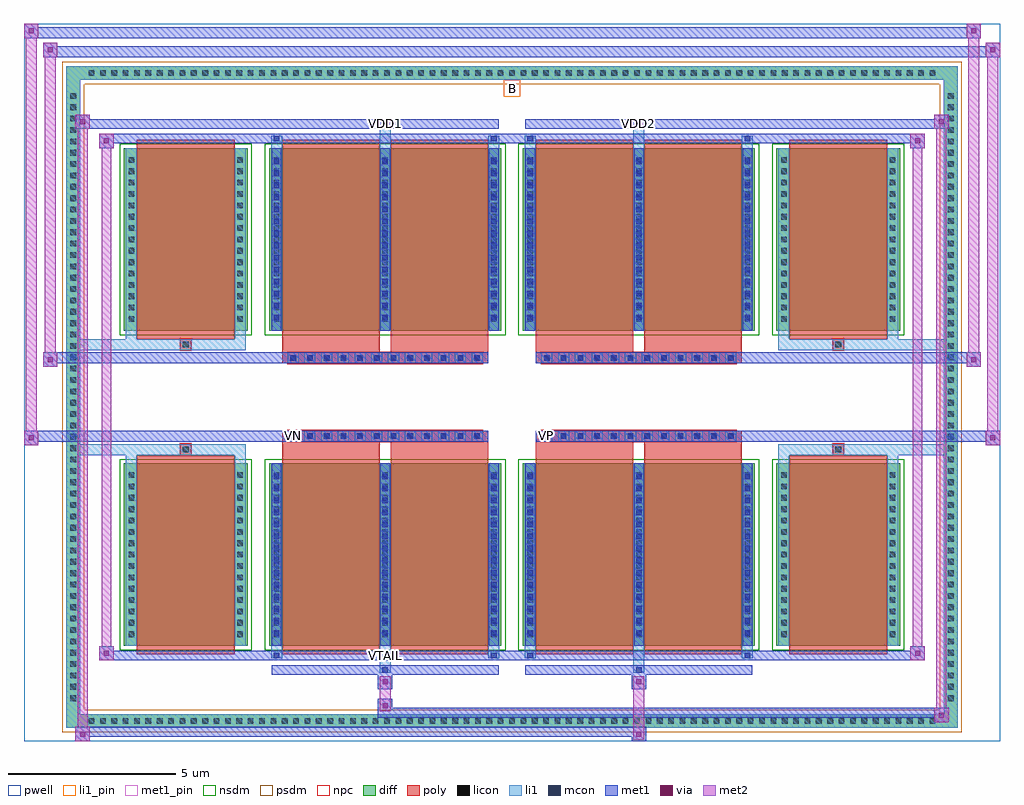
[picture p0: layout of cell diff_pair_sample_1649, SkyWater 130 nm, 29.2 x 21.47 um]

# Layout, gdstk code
import gdstk
lib = gdstk.Library(unit=1e-6, precision=5e-09)
def R(c, l, rs):  # rectangles x0, y0, x1, y1
    for r in rs: c.add(gdstk.rectangle(r[:2], r[2:], *l))
def A(c, l, x, y, w, h, nx, ny, dx, dy):  # array of equal rectangles
    R(c, l, [(x+i*dx, y+j*dy, x+i*dx+w, y+j*dy+h) for i in range(nx) for j in range(ny)])
def P(c, l, *ps):  # polygons
    for p in ps: c.add(gdstk.Polygon(p, *l))
pwell = (64, 44)
diff = (65, 20)
poly = (66, 20)
licon = (66, 44)
li1_pin = (67, 16)
li1 = (67, 20)
mcon = (67, 44)
met1_pin = (68, 16)
met1 = (68, 20)
via = (68, 44)
met2 = (69, 20)
nsdm = (93, 44)
psdm = (94, 20)
npc = (95, 20)

diff_pair_sample_1649 = lib.new_cell('diff_pair_sample_1649')
R(diff_pair_sample_1649, pwell, [(-14.6,-10.3,14.6,11.17), (-11.92,-8.49,-0.01,-0.805), (0.01,-8.49,11.92,-0.805), (-11.92,0.805,-0.01,8.49), (0.01,0.805,11.92,8.49)])
A(diff_pair_sample_1649, diff, -12.785, -9.9, 0.41, 0.41, 75, 2, 0.34, 19.39)
A(diff_pair_sample_1649, diff, -13.33, -9.215, 0.41, 0.41, 1, 54, 0, 0.34)
A(diff_pair_sample_1649, diff, 12.92, -9.215, 0.41, 0.41, 1, 54, 0, 0.34)
R(diff_pair_sample_1649, diff, [(-12.785,-9.9,12.785,-9.49), (-13.33,-9.215,-12.92,9.215), (12.92,-9.215,13.33,9.215), (-11.61,-7.445,-7.91,-1.985), (-7.27,-7.445,-0.32,-1.985), (0.32,-7.445,7.27,-1.985), (7.91,-7.445,11.61,-1.985), (-11.61,1.985,-7.91,7.445), (-7.27,1.985,-0.32,7.445), (0.32,1.985,7.27,7.445), (7.91,1.985,11.61,7.445), (-12.785,9.49,12.785,9.9)])
P(diff_pair_sample_1649, diff, [(13.33,9.9),(-13.33,9.9),(-13.33,-9.49),(-12.92,-9.49),(-12.92,9.49),(12.92,9.49),(12.92,-9.49),(-12.92,-9.49),(-13.33,-9.49),(-13.33,-9.9),(13.33,-9.9)])
A(diff_pair_sample_1649, poly, -6.71, -1.335, 0.33, 0.33, 12, 2, 0.5, 2.34)
A(diff_pair_sample_1649, poly, 0.88, -1.335, 0.33, 0.33, 12, 2, 0.5, 2.34)
R(diff_pair_sample_1649, poly, [(-11.22,-7.695,-8.3,-1.735), (-6.88,-7.695,-3.96,-1.735), (-3.63,-7.695,-0.71,-1.735), (0.71,-7.695,3.63,-1.735), (3.96,-7.695,6.88,-1.735), (8.3,-7.695,11.22,-1.735), (-9.925,-1.735,-9.595,-1.405), (-9.925,-1.735,-9.595,-1.405), (-6.88,-1.735,-3.96,-1.335), (-3.63,-1.735,-0.71,-1.335), (0.71,-1.735,3.63,-1.335), (3.96,-1.735,6.88,-1.335), (9.595,-1.735,9.925,-1.405), (9.595,-1.735,9.925,-1.405), (-6.88,-1.335,-0.71,-1.005), (0.71,-1.335,6.88,-1.005), (-6.88,1.005,-0.71,1.335), (0.71,1.005,6.88,1.335), (-6.88,1.335,-3.96,1.735), (-3.63,1.335,-0.71,1.735), (0.71,1.335,3.63,1.735), (3.96,1.335,6.88,1.735), (-9.925,1.405,-9.595,1.735), (-9.925,1.405,-9.595,1.735), (9.595,1.405,9.925,1.735), (9.595,1.405,9.925,1.735), (-11.22,1.735,-8.3,7.695), (-6.88,1.735,-3.96,7.695), (-3.63,1.735,-0.71,7.695), (0.71,1.735,3.63,7.695), (3.96,1.735,6.88,7.695), (8.3,1.735,11.22,7.695)])
A(diff_pair_sample_1649, licon, -12.665, -9.78, 0.17, 0.17, 75, 2, 0.34, 19.39)
A(diff_pair_sample_1649, licon, -13.21, -9.095, 0.17, 0.17, 1, 54, 0, 0.34)
A(diff_pair_sample_1649, licon, 13.04, -9.095, 0.17, 0.17, 1, 54, 0, 0.34)
A(diff_pair_sample_1649, licon, -11.47, -7.18, 0.17, 0.17, 1, 15, 0, 0.34)
A(diff_pair_sample_1649, licon, -8.22, -7.18, 0.17, 0.17, 1, 15, 0, 0.34)
A(diff_pair_sample_1649, licon, -7.13, -7.18, 0.17, 0.17, 3, 15, 3.25, 0.34)
A(diff_pair_sample_1649, licon, 0.46, -7.18, 0.17, 0.17, 3, 15, 3.25, 0.34)
A(diff_pair_sample_1649, licon, 8.05, -7.18, 0.17, 0.17, 1, 15, 0, 0.34)
A(diff_pair_sample_1649, licon, 11.3, -7.18, 0.17, 0.17, 1, 15, 0, 0.34)
A(diff_pair_sample_1649, licon, -6.63, -1.255, 0.17, 0.17, 12, 2, 0.5, 2.34)
A(diff_pair_sample_1649, licon, 0.96, -1.255, 0.17, 0.17, 12, 2, 0.5, 2.34)
A(diff_pair_sample_1649, licon, -11.47, 2.25, 0.17, 0.17, 1, 15, 0, 0.34)
A(diff_pair_sample_1649, licon, -8.22, 2.25, 0.17, 0.17, 1, 15, 0, 0.34)
A(diff_pair_sample_1649, licon, -7.13, 2.25, 0.17, 0.17, 3, 15, 3.25, 0.34)
A(diff_pair_sample_1649, licon, 0.46, 2.25, 0.17, 0.17, 3, 15, 3.25, 0.34)
A(diff_pair_sample_1649, licon, 8.05, 2.25, 0.17, 0.17, 1, 15, 0, 0.34)
A(diff_pair_sample_1649, licon, 11.3, 2.25, 0.17, 0.17, 1, 15, 0, 0.34)
R(diff_pair_sample_1649, licon, [(-9.845,-1.655,-9.675,-1.485), (9.675,-1.655,9.845,-1.485), (-9.845,1.485,-9.675,1.655), (9.675,1.485,9.845,1.655)])
R(diff_pair_sample_1649, li1_pin, [(-0.25,8.99,0.25,9.49)])
A(diff_pair_sample_1649, li1, -12.745, -9.86, 0.33, 0.33, 75, 2, 0.34, 19.39)
A(diff_pair_sample_1649, li1, -13.29, -9.175, 0.33, 0.33, 1, 54, 0, 0.34)
A(diff_pair_sample_1649, li1, 12.96, -9.175, 0.33, 0.33, 1, 54, 0, 0.34)
A(diff_pair_sample_1649, li1, -7.21, -7.445, 0.33, 5.46, 3, 2, 3.25, 9.43)
A(diff_pair_sample_1649, li1, 0.38, -7.445, 0.33, 5.46, 3, 2, 3.25, 9.43)
A(diff_pair_sample_1649, li1, -11.55, -7.26, 0.33, 0.33, 1, 15, 0, 0.34)
A(diff_pair_sample_1649, li1, -8.3, -7.26, 0.33, 0.33, 1, 15, 0, 0.34)
A(diff_pair_sample_1649, li1, -7.21, -7.26, 0.33, 0.33, 3, 15, 3.25, 0.34)
A(diff_pair_sample_1649, li1, 0.38, -7.26, 0.33, 0.33, 3, 15, 3.25, 0.34)
A(diff_pair_sample_1649, li1, 7.97, -7.26, 0.33, 0.33, 1, 15, 0, 0.34)
A(diff_pair_sample_1649, li1, 11.22, -7.26, 0.33, 0.33, 1, 15, 0, 0.34)
A(diff_pair_sample_1649, li1, -7.13, -7.14, 0.17, 0.17, 3, 14, 3.25, 0.36)
A(diff_pair_sample_1649, li1, -7.13, -7.14, 0.17, 4.85, 3, 2, 3.25, 9.43)
A(diff_pair_sample_1649, li1, 0.46, -7.14, 0.17, 0.17, 3, 14, 3.25, 0.36)
A(diff_pair_sample_1649, li1, 0.46, -7.14, 0.17, 4.85, 3, 2, 3.25, 9.43)
A(diff_pair_sample_1649, li1, -6.71, -1.335, 0.33, 0.33, 12, 2, 0.5, 2.34)
A(diff_pair_sample_1649, li1, 0.88, -1.335, 0.33, 0.33, 12, 2, 0.5, 2.34)
A(diff_pair_sample_1649, li1, -11.55, 2.17, 0.33, 0.33, 1, 15, 0, 0.34)
A(diff_pair_sample_1649, li1, -8.3, 2.17, 0.33, 0.33, 1, 15, 0, 0.34)
A(diff_pair_sample_1649, li1, -7.21, 2.17, 0.33, 0.33, 3, 15, 3.25, 0.34)
A(diff_pair_sample_1649, li1, 0.38, 2.17, 0.33, 0.33, 3, 15, 3.25, 0.34)
A(diff_pair_sample_1649, li1, 7.97, 2.17, 0.33, 0.33, 1, 15, 0, 0.34)
A(diff_pair_sample_1649, li1, 11.22, 2.17, 0.33, 0.33, 1, 15, 0, 0.34)
A(diff_pair_sample_1649, li1, -7.13, 2.29, 0.17, 0.17, 3, 14, 3.25, 0.36)
A(diff_pair_sample_1649, li1, 0.46, 2.29, 0.17, 0.17, 3, 14, 3.25, 0.36)
R(diff_pair_sample_1649, li1, [(-13.33,-9.9,-12.92,-9.49), (-13.33,-9.9,-12.92,-9.49), (-12.92,-9.9,12.92,-9.49), (12.92,-9.9,13.33,-9.49), (12.92,-9.9,13.33,-9.49), (-13.33,-9.49,-12.92,9.49), (12.92,-9.49,13.33,9.49), (-3.96,-8.25,-3.63,-7.445), (-3.88,-8.25,-3.71,-8.08), (3.63,-8.25,3.96,-7.445), (3.71,-8.25,3.88,-8.08), (-7.21,-7.82,-6.88,-7.445), (-7.13,-7.82,-6.96,-7.65), (-0.71,-7.82,-0.38,-7.445), (-0.63,-7.82,-0.46,-7.65), (0.38,-7.82,0.71,-7.445), (0.46,-7.82,0.63,-7.65), (6.88,-7.82,7.21,-7.445), (6.96,-7.82,7.13,-7.65), (-11.55,-7.445,-11.22,-1.985), (-8.3,-7.445,-7.97,-1.985), (7.97,-7.445,8.3,-1.985), (11.22,-7.445,11.55,-1.985), (-11.55,-1.985,-11.22,-1.405), (-8.3,-1.985,-7.97,-1.405), (7.97,-1.985,8.3,-1.405), (11.22,-1.985,11.55,-1.405), (-13.33,-1.735,-9.925,-1.405), (-11.55,-1.735,-9.925,-1.405), (-9.925,-1.735,-9.595,-1.405), (-9.595,-1.735,-7.97,-1.405), (7.97,-1.735,9.595,-1.405), (9.595,-1.735,9.925,-1.405), (9.595,-1.735,13.33,-1.405), (9.925,-1.735,11.55,-1.405), (-13.33,1.405,-9.925,1.735), (-11.55,1.405,-9.925,1.735), (-11.55,1.405,-11.22,1.985), (-9.925,1.405,-9.595,1.735), (-9.595,1.405,-7.97,1.735), (-8.3,1.405,-7.97,1.985), (7.97,1.405,9.595,1.735), (7.97,1.405,8.3,1.985), (9.595,1.405,9.925,1.735), (9.595,1.405,13.33,1.735), (9.925,1.405,11.55,1.735), (11.22,1.405,11.55,1.985), (-11.55,1.985,-11.22,7.445), (-8.3,1.985,-7.97,7.445), (7.97,1.985,8.3,7.445), (11.22,1.985,11.55,7.445), (-7.21,7.445,-6.88,7.82), (-3.96,7.445,-3.63,8.25), (-0.71,7.445,-0.38,7.82), (0.38,7.445,0.71,7.82), (3.63,7.445,3.96,8.25), (6.88,7.445,7.21,7.82), (-7.13,7.65,-6.96,7.82), (-0.63,7.65,-0.46,7.82), (0.46,7.65,0.63,7.82), (6.96,7.65,7.13,7.82), (-3.88,8.08,-3.71,8.25), (3.71,8.08,3.88,8.25), (-13.33,9.49,-12.92,9.9), (-13.33,9.49,-12.92,9.9), (-12.92,9.49,12.92,9.9), (12.92,9.49,13.33,9.9), (12.92,9.49,13.33,9.9)])
A(diff_pair_sample_1649, mcon, -7.13, -7.14, 0.17, 0.17, 3, 14, 3.25, 0.36)
A(diff_pair_sample_1649, mcon, 0.46, -7.14, 0.17, 0.17, 3, 14, 3.25, 0.36)
A(diff_pair_sample_1649, mcon, -6.63, -1.255, 0.17, 0.17, 12, 2, 0.5, 2.34)
A(diff_pair_sample_1649, mcon, 0.96, -1.255, 0.17, 0.17, 12, 2, 0.5, 2.34)
A(diff_pair_sample_1649, mcon, -7.13, 2.29, 0.17, 0.17, 3, 14, 3.25, 0.36)
A(diff_pair_sample_1649, mcon, 0.46, 2.29, 0.17, 0.17, 3, 14, 3.25, 0.36)
R(diff_pair_sample_1649, mcon, [(-3.88,-8.25,-3.71,-8.08), (3.71,-8.25,3.88,-8.08), (-7.13,-7.82,-6.96,-7.65), (-0.63,-7.82,-0.46,-7.65), (0.46,-7.82,0.63,-7.65), (6.96,-7.82,7.13,-7.65), (-7.13,7.65,-6.96,7.82), (-0.63,7.65,-0.46,7.82), (0.46,7.65,0.63,7.82), (6.96,7.65,7.13,7.82), (-3.88,8.08,-3.71,8.25), (3.71,8.08,3.88,8.25)])
R(diff_pair_sample_1649, met1_pin, [(-3.93,-7.86,-3.66,-7.59), (-6.68,-1.295,-6.41,-1.025), (0.91,-1.295,1.18,-1.025), (-3.93,8.04,-3.66,8.31), (3.66,8.04,3.93,8.31)])
A(diff_pair_sample_1649, met1, -7.19, -7.445, 0.29, 5.46, 3, 2, 3.25, 9.43)
A(diff_pair_sample_1649, met1, 0.4, -7.445, 0.29, 5.46, 3, 2, 3.25, 9.43)
A(diff_pair_sample_1649, met1, -7.19, -7.2, 0.29, 0.29, 3, 14, 3.25, 0.36)
A(diff_pair_sample_1649, met1, 0.4, -7.2, 0.29, 0.29, 3, 14, 3.25, 0.36)
A(diff_pair_sample_1649, met1, -6.69, -1.315, 0.29, 0.29, 12, 2, 0.5, 2.34)
A(diff_pair_sample_1649, met1, 0.9, -1.315, 0.29, 0.29, 12, 2, 0.5, 2.34)
A(diff_pair_sample_1649, met1, -7.19, 2.23, 0.29, 0.29, 3, 14, 3.25, 0.36)
A(diff_pair_sample_1649, met1, 0.4, 2.23, 0.29, 0.29, 3, 14, 3.25, 0.36)
R(diff_pair_sample_1649, met1, [(-13.06,-10.3,-12.63,-9.87), (3.58,-10.3,4.01,-9.87), (-13.06,-10.16,4.01,-9.87), (12.63,-9.73,13.06,-9.3), (-4.01,-9.59,13.06,-9.3), (-4.01,-9.45,-3.58,-9.02), (-4.01,-8.74,-3.58,-8.31), (3.58,-8.74,4.01,-8.31), (-7.19,-8.31,-0.4,-8.02), (-3.94,-8.31,-3.65,-8.02), (0.4,-8.31,7.19,-8.02), (3.65,-8.31,3.94,-8.02), (-12.35,-7.88,-11.92,-7.45), (-12.35,-7.88,-7.19,-7.59), (-7.19,-7.88,-6.9,-7.59), (-7.19,-7.88,-0.4,-7.59), (-0.69,-7.88,-0.4,-7.59), (-0.4,-7.88,0.4,-7.59), (0.4,-7.88,0.69,-7.59), (0.4,-7.88,7.19,-7.59), (6.9,-7.88,7.19,-7.59), (7.19,-7.88,12.35,-7.59), (11.92,-7.88,12.35,-7.45), (-14.6,-1.435,-14.17,-1.005), (14.17,-1.435,14.6,-1.005), (-14.6,-1.335,-0.71,-1.005), (-6.88,-1.335,-0.71,-1.005), (0.71,-1.335,6.88,-1.005), (0.71,-1.335,14.6,-1.005), (-14.03,0.905,-13.6,1.335), (13.6,0.905,14.03,1.335), (-14.03,1.005,-6.88,1.335), (-6.88,1.005,-0.71,1.335), (0.71,1.005,6.88,1.335), (6.88,1.005,14.03,1.335), (-12.35,7.45,-11.92,7.88), (11.92,7.45,12.35,7.88), (-12.35,7.59,-7.19,7.88), (-7.19,7.59,-6.9,7.88), (-7.19,7.59,-0.4,7.88), (-0.69,7.59,-0.4,7.88), (-0.4,7.59,0.4,7.88), (0.4,7.59,0.69,7.88), (0.4,7.59,7.19,7.88), (6.9,7.59,7.19,7.88), (7.19,7.59,12.35,7.88), (-13.06,8.02,-12.63,8.45), (-13.06,8.02,-7.19,8.31), (-7.19,8.02,-0.4,8.31), (-3.94,8.02,-3.65,8.31), (0.4,8.02,7.19,8.31), (3.65,8.02,3.94,8.31), (7.19,8.02,13.06,8.31), (12.63,8.02,13.06,8.45), (-14.03,10.17,-13.6,10.6), (-14.03,10.17,-11.92,10.5), (-11.92,10.17,11.92,10.5), (11.92,10.17,14.6,10.5), (14.17,10.17,14.6,10.6), (-14.6,10.74,-14.17,11.17), (-14.6,10.74,-11.92,11.07), (-11.92,10.74,11.92,11.07), (11.92,10.74,14.03,11.07), (13.6,10.74,14.03,11.17)])
R(diff_pair_sample_1649, via, [(-12.92,-10.16,-12.77,-10.01), (3.72,-10.16,3.87,-10.01), (12.77,-9.59,12.92,-9.44), (-3.87,-9.31,-3.72,-9.16), (-3.87,-8.6,-3.72,-8.45), (3.72,-8.6,3.87,-8.45), (-12.21,-7.74,-12.06,-7.59), (12.06,-7.74,12.21,-7.59), (-14.46,-1.295,-14.31,-1.145), (14.31,-1.295,14.46,-1.145), (-13.89,1.045,-13.74,1.195), (13.74,1.045,13.89,1.195), (-12.21,7.59,-12.06,7.74), (12.06,7.59,12.21,7.74), (-12.92,8.16,-12.77,8.31), (12.77,8.16,12.92,8.31), (-13.89,10.31,-13.74,10.46), (14.31,10.31,14.46,10.46), (-14.46,10.88,-14.31,11.03), (13.74,10.88,13.89,11.03)])
R(diff_pair_sample_1649, met2, [(-13.06,-10.3,-12.63,-9.87), (-12.99,-10.3,-12.7,8.45), (-12.7,-10.3,-12.63,-9.87), (-13.01,-10.25,-12.68,-9.92), (3.63,-10.25,3.96,-9.92), (3.63,-9.92,3.96,-8.69), (12.63,-9.73,13.06,-9.3), (12.7,-9.73,12.99,8.45), (12.99,-9.73,13.06,-9.3), (12.68,-9.68,13.01,-9.35), (-3.96,-9.4,-3.63,-9.07), (-3.96,-9.07,-3.63,-8.69), (-3.96,-8.69,-3.63,-8.36), (3.63,-8.69,3.96,-8.36), (-12.35,-7.88,-11.92,-7.45), (-12.28,-7.88,-11.99,7.88), (-11.99,-7.88,-11.92,-7.45), (11.92,-7.88,12.35,-7.45), (11.99,-7.88,12.28,7.88), (12.28,-7.88,12.35,-7.45), (-12.3,-7.83,-11.97,-7.5), (11.97,-7.83,12.3,-7.5), (-14.6,-1.435,-14.17,-1.005), (-14.55,-1.435,-14.22,11.17), (-14.22,-1.435,-14.17,-1.005), (14.17,-1.435,14.6,-1.005), (14.22,-1.435,14.55,10.6), (14.55,-1.435,14.6,-1.005), (-14.55,-1.385,-14.22,-1.055), (14.22,-1.385,14.55,-1.055), (-14.03,0.905,-13.6,1.335), (-13.98,0.905,-13.65,10.6), (-13.65,0.905,-13.6,1.335), (13.6,0.905,14.03,1.335), (13.65,0.905,13.98,11.17), (13.98,0.905,14.03,1.335), (-13.98,0.955,-13.65,1.285), (13.65,0.955,13.98,1.285), (-12.35,7.45,-11.92,7.88), (-11.99,7.45,-11.92,7.88), (11.92,7.45,12.35,7.88), (12.28,7.45,12.35,7.88), (-12.3,7.5,-11.97,7.83), (11.97,7.5,12.3,7.83), (-13.06,8.02,-12.63,8.45), (-12.7,8.02,-12.63,8.45), (12.63,8.02,13.06,8.45), (12.99,8.02,13.06,8.45), (-13.01,8.07,-12.68,8.4), (12.68,8.07,13.01,8.4), (-14.03,10.17,-13.6,10.6), (-13.65,10.17,-13.6,10.6), (14.17,10.17,14.6,10.6), (14.55,10.17,14.6,10.6), (-13.98,10.22,-13.65,10.55), (14.22,10.22,14.55,10.55), (-14.6,10.74,-14.17,11.17), (-14.22,10.74,-14.17,11.17), (13.6,10.74,14.03,11.17), (13.98,10.74,14.03,11.17), (-14.55,10.79,-14.22,11.12), (13.65,10.79,13.98,11.12)])
R(diff_pair_sample_1649, nsdm, [(-11.74,-7.575,-7.78,-1.855), (-7.4,-7.575,-0.19,-1.855), (0.19,-7.575,7.4,-1.855), (7.78,-7.575,11.74,-1.855), (-11.74,1.855,-7.78,7.575), (-7.4,1.855,-0.19,7.575), (0.19,1.855,7.4,7.575), (7.78,1.855,11.74,7.575)])
P(diff_pair_sample_1649, psdm, [(13.46,10.03),(-13.46,10.03),(-13.46,-9.36),(-12.79,-9.36),(-12.79,9.36),(12.79,9.36),(12.79,-9.36),(-12.79,-9.36),(-13.46,-9.36),(-13.46,-10.03),(13.46,-10.03)])
A(diff_pair_sample_1649, npc, -6.73, -1.355, 0.37, 0.37, 12, 2, 0.5, 2.34)
A(diff_pair_sample_1649, npc, 0.86, -1.355, 0.37, 0.37, 12, 2, 0.5, 2.34)
R(diff_pair_sample_1649, npc, [(-9.945,-1.755,-9.575,-1.385), (9.575,-1.755,9.945,-1.385), (-6.73,-1.355,-5.86,-0.985), (-6.73,-1.355,-5.86,-0.985), (-6.23,-1.355,-5.36,-0.985), (-6.23,-1.355,-5.36,-0.985), (-5.73,-1.355,-4.86,-0.985), (-5.73,-1.355,-4.86,-0.985), (-5.23,-1.355,-4.36,-0.985), (-5.23,-1.355,-4.36,-0.985), (-4.73,-1.355,-3.86,-0.985), (-4.73,-1.355,-3.86,-0.985), (-4.23,-1.355,-3.36,-0.985), (-4.23,-1.355,-3.36,-0.985), (-3.73,-1.355,-2.86,-0.985), (-3.73,-1.355,-2.86,-0.985), (-3.23,-1.355,-2.36,-0.985), (-3.23,-1.355,-2.36,-0.985), (-2.73,-1.355,-1.86,-0.985), (-2.73,-1.355,-1.86,-0.985), (-2.23,-1.355,-1.36,-0.985), (-2.23,-1.355,-1.36,-0.985), (-1.73,-1.355,-0.86,-0.985), (-1.73,-1.355,-0.86,-0.985), (0.86,-1.355,1.73,-0.985), (0.86,-1.355,1.73,-0.985), (1.36,-1.355,2.23,-0.985), (1.36,-1.355,2.23,-0.985), (1.86,-1.355,2.73,-0.985), (1.86,-1.355,2.73,-0.985), (2.36,-1.355,3.23,-0.985), (2.36,-1.355,3.23,-0.985), (2.86,-1.355,3.73,-0.985), (2.86,-1.355,3.73,-0.985), (3.36,-1.355,4.23,-0.985), (3.36,-1.355,4.23,-0.985), (3.86,-1.355,4.73,-0.985), (3.86,-1.355,4.73,-0.985), (4.36,-1.355,5.23,-0.985), (4.36,-1.355,5.23,-0.985), (4.86,-1.355,5.73,-0.985), (4.86,-1.355,5.73,-0.985), (5.36,-1.355,6.23,-0.985), (5.36,-1.355,6.23,-0.985), (5.86,-1.355,6.73,-0.985), (5.86,-1.355,6.73,-0.985), (-6.73,0.985,-5.86,1.355), (-6.73,0.985,-5.86,1.355), (-6.23,0.985,-5.36,1.355), (-6.23,0.985,-5.36,1.355), (-5.73,0.985,-4.86,1.355), (-5.73,0.985,-4.86,1.355), (-5.23,0.985,-4.36,1.355), (-5.23,0.985,-4.36,1.355), (-4.73,0.985,-3.86,1.355), (-4.73,0.985,-3.86,1.355), (-4.23,0.985,-3.36,1.355), (-4.23,0.985,-3.36,1.355), (-3.73,0.985,-2.86,1.355), (-3.73,0.985,-2.86,1.355), (-3.23,0.985,-2.36,1.355), (-3.23,0.985,-2.36,1.355), (-2.73,0.985,-1.86,1.355), (-2.73,0.985,-1.86,1.355), (-2.23,0.985,-1.36,1.355), (-2.23,0.985,-1.36,1.355), (-1.73,0.985,-0.86,1.355), (-1.73,0.985,-0.86,1.355), (0.86,0.985,1.73,1.355), (0.86,0.985,1.73,1.355), (1.36,0.985,2.23,1.355), (1.36,0.985,2.23,1.355), (1.86,0.985,2.73,1.355), (1.86,0.985,2.73,1.355), (2.36,0.985,3.23,1.355), (2.36,0.985,3.23,1.355), (2.86,0.985,3.73,1.355), (2.86,0.985,3.73,1.355), (3.36,0.985,4.23,1.355), (3.36,0.985,4.23,1.355), (3.86,0.985,4.73,1.355), (3.86,0.985,4.73,1.355), (4.36,0.985,5.23,1.355), (4.36,0.985,5.23,1.355), (4.86,0.985,5.73,1.355), (4.86,0.985,5.73,1.355), (5.36,0.985,6.23,1.355), (5.36,0.985,6.23,1.355), (5.86,0.985,6.73,1.355), (5.86,0.985,6.73,1.355), (-9.945,1.385,-9.575,1.755), (9.575,1.385,9.945,1.755)])
diff_pair_sample_1649.add(gdstk.Label('VTAIL', (-3.795,-7.725), layer=68, texttype=5))
diff_pair_sample_1649.add(gdstk.Label('VN', (-6.545,-1.16), layer=68, texttype=5))
diff_pair_sample_1649.add(gdstk.Label('VP', (1.045,-1.16), layer=68, texttype=5))
diff_pair_sample_1649.add(gdstk.Label('B', (0,9.24), layer=67, texttype=5))
diff_pair_sample_1649.add(gdstk.Label('VDD2', (3.795,8.175), layer=68, texttype=5))
diff_pair_sample_1649.add(gdstk.Label('VDD1', (-3.795,8.175), layer=68, texttype=5))

lib.write_gds('diff_pair_sample_1649.gds')
